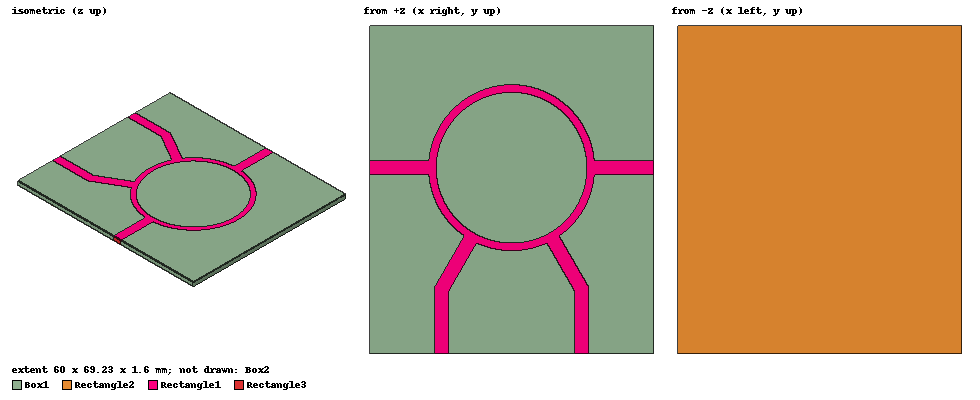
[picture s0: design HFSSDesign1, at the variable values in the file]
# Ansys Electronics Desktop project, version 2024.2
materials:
  vacuum: permittivity=1
  FR4_epoxy: permittivity=4.4 dielectric_loss_tangent=0.02
  air: permittivity=1.0006 permeability=1.0000004

design HFSSDesign1 (HFSS, HFSS Terminal Network, model units mm)
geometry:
  Circle1 = circle(normal=Z, centre=(0mm, 0mm, 0mm), radius=17.52mm)
  Circle2 = circle(normal=Z, centre=(0mm, 0mm, 0mm), radius=15.9mm)
  Circle1.subtract(Circle2)
  Rectangle1 = rectangle(corner=(-1.5mm, -30mm, 0mm), x_size=3mm, y_size=14mm)
  Rectangle1_1 = Rectangle1.duplicate_around_axis(axis=Z, angle=90deg, total=2)
  Rectangle1_2 = Rectangle1.duplicate_around_axis(axis=Z, angle=-90deg, total=2)
  Rectangle1_3 = Rectangle1.duplicate_around_axis(axis=Z, angle=-30deg, total=2)
  Rectangle1_4 = Rectangle1.duplicate_around_axis(axis=Z, angle=30deg, total=2)
  Rectangle1_5 = Rectangle1.duplicate_along_line(step=(-14.799038mm, -9.2307621mm, 0mm), total=2)
  Rectangle1.move(0mm, 0mm, 0mm)
  Rectangle1.move(14.799038mm, -9.2307621mm, 0mm)
  Rectangle1.unite(Rectangle1_3, Rectangle1_4, Rectangle1_5)
  Rectangle1.unite(Rectangle1_2, Circle1, Rectangle1_1)
  Rectangle2 = rectangle(corner=(-30mm, -39.230762mm, 0mm), x_size=60mm, y_size=69.230762mm)
  Rectangle2.move(0mm, 0mm, -1.6mm)
  Box1 [FR4_epoxy] = box(corner=(-30mm, 30mm, -1.6mm), size=(60mm, -69.230762mm, 1.6mm))
  Rectangle3 = rectangle(corner=(30mm, -1.5mm, 0mm), y_size=3mm, z_size=-1.6mm)
  Rectangle4 = rectangle(corner=(13.299038mm, -39.230762mm, 0mm), z_size=-1.6mm, x_size=3mm)
  Rectangle5 = rectangle(corner=(-16.299038mm, -39.230762mm, 0mm), z_size=-1.6mm, x_size=3mm)
  Rectangle6 = rectangle(corner=(-30mm, 1.5mm, 0mm), y_size=-3mm, z_size=-1.6mm)
  Box2 [air] = box(corner=(-50mm, -50mm, -50mm), size=(100mm, 100mm, 100mm))
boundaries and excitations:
  PerfE1: Perfect E Objects=Rectangle1
  PerfE2: Perfect E Objects=Rectangle2
  Rad1: Radiation Objects=Box2
  1: Lumped Port Objects=Rectangle5 LumpedPortType=Modal Modes{Mode1{IntLine{(-14.799038, -39.230762, -1.6) -> (-14.799038, -39.230762, 0)} CharImp=Zpi RenormImp=50ohm}} Impedance=50ohm
  2: Lumped Port Objects=Rectangle6 LumpedPortType=Modal Modes{Mode1{IntLine{(-30, 0, -1.6) -> (-30, 0, 0)} CharImp=Zpi RenormImp=50ohm}} Impedance=50ohm
  3: Lumped Port Objects=Rectangle4 LumpedPortType=Modal Modes{Mode1{IntLine{(14.799038, -39.230762, -1.6) -> (14.799038, -39.230762, 0)} CharImp=Zpi RenormImp=50ohm}} Impedance=50ohm
  4: Lumped Port Objects=Rectangle3 LumpedPortType=Modal Modes{Mode1{IntLine{(30, 0, -1.6) -> (30, 0, 0)} CharImp=Zpi RenormImp=50ohm}} Impedance=50ohm
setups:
  Setup1: HfssDriven Frequency=2.4GHz MaxDeltaS=0.02 MaximumPasses=6 MinimumPasses=1 MinimumConvergedPasses=1 PercentRefinement=30 BasisOrder=1 PortAccuracy=2 DrivenSolverType="Direct Solver"
    sweep Sweep: 1GHz to 5GHz step 0.1GHz; Type=Interpolating InterpTolerance=0.5 InterpMaxSolns=250 PassivityErrorTolerance=0.0001
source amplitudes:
  1:1: 1V 0deg
  2:1, 3:1, 4:1: 0V 0deg
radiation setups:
  Infinite Sphere1: Infinite Sphere Theta=0deg..180deg step 10deg Phi=0deg..360deg step 10deg
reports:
  Terminal S Parameter Plot 1: dB(St(1,1)), dB(St(2,1)), dB(St(3,1)), dB(St(4,1)), dB(St(1,2)), dB(St(2,2)), dB(St(3,2)), dB(St(4,2)), dB(St(1,3)), dB(St(2,3)), dB(St(3,3)), dB(St(4,3)), dB(St(1,4)), dB(St(2,4)), dB(St(3,4)), dB(St(4,4)) vs Freq on Setup1 : Sweep; markers m1 at 2.2GHz
  rE Plot 1: rETotal vs Phi, Theta on Setup1 : LastAdaptive, Infinite Sphere1 [Freq=2.4GHz]
  Gain Plot 1: dB(GainTotal) vs Theta on Setup1 : LastAdaptive, Infinite Sphere1 [Phi=all Freq=2.4GHz]
  Directivity Plot 2: dB(DirTotal) vs Phi, Theta on Setup1 : LastAdaptive, Infinite Sphere1 [Freq=2.4GHz]
